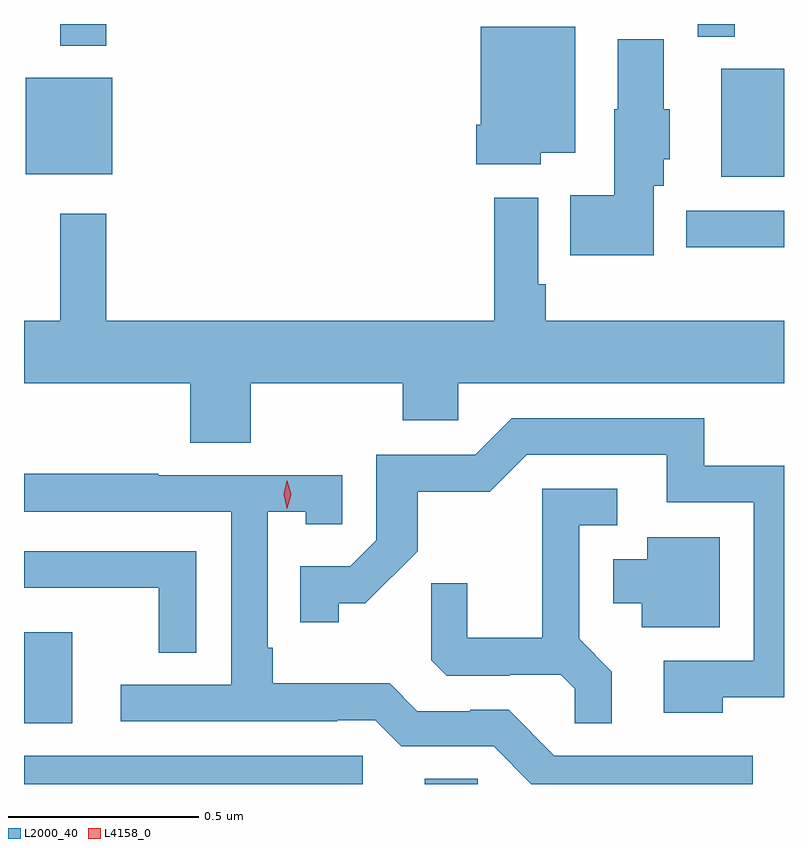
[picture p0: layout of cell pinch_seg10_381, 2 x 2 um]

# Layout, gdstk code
import gdstk
lib = gdstk.Library(unit=1e-6, precision=1e-09)
def R(c, l, rs):  # rectangles x0, y0, x1, y1
    for r in rs: c.add(gdstk.rectangle(r[:2], r[2:], *l))
def P(c, l, *ps):  # polygons
    for p in ps: c.add(gdstk.Polygon(p, *l))
L2000_40 = (2000, 40)
L4158_0 = (4158, 0)

pinch_seg10_381 = lib.new_cell('pinch_seg10_381')
R(pinch_seg10_381, L2000_40, [(485.598,1263.297,486.49,1263.372), (486.653,1263.297,486.792,1263.311), (485.598,1263.457,485.725,1263.696), (487.433,1264.895,487.598,1265.179), (485.603,1264.901,485.83,1265.155), (485.693,1265.24,485.815,1265.297), (487.371,1265.264,487.468,1265.297)])
P(pinch_seg10_381, L2000_40, [(486.958,1264.958),(487.048,1264.958),(487.048,1265.29),(486.8,1265.29),(486.8,1265.032),(486.788,1265.032),(486.788,1264.928),(486.958,1264.928)],
  [(487.255,1264.872),(487.282,1264.872),(487.282,1264.941),(487.297,1264.941),(487.297,1265.073),(487.282,1265.073),(487.282,1265.257),(487.16,1265.257),(487.16,1265.073),(487.151,1265.073),(487.151,1264.846),(487.036,1264.846),(487.036,1264.688),(487.255,1264.688)],
  [(486.195,1264.352),(486.595,1264.352),(486.595,1264.254),(486.741,1264.254),(486.741,1264.352),(487.598,1264.352),(487.598,1264.516),(486.971,1264.516),(486.971,1264.612),(486.951,1264.612),(486.951,1264.84),(486.835,1264.84),(486.835,1264.516),(485.815,1264.516),(485.815,1264.798),(485.693,1264.798),(485.693,1264.516),(485.598,1264.516),(485.598,1264.352),(486.035,1264.352),(486.035,1264.195),(486.195,1264.195)],
  [(487.583,1264.71),(487.598,1264.71),(487.598,1264.806),(487.341,1264.806),(487.341,1264.709),(487.583,1264.709)],
  [(487.437,1263.525),(487.598,1263.525),(487.598,1264.134),(487.388,1264.134),(487.388,1264.26),(486.882,1264.26),(486.786,1264.164),(486.525,1264.164),(486.525,1263.939),(486.456,1263.87),(486.325,1263.87),(486.325,1263.723),(486.426,1263.723),(486.426,1263.773),(486.496,1263.773),(486.634,1263.91),(486.634,1264.066),(486.823,1264.066),(486.921,1264.164),(487.289,1264.164),(487.289,1264.038),(487.518,1264.038),(487.518,1263.621),(487.281,1263.621),(487.281,1263.485),(487.437,1263.485)],
  [(487.516,1263.372),(486.993,1263.372),(486.873,1263.492),(486.772,1263.492),(486.772,1263.489),(486.633,1263.489),(486.56,1263.562),(486.253,1263.562),(486.253,1263.655),(486.24,1263.655),(486.24,1264.013),(486.339,1264.013),(486.339,1263.981),(486.435,1263.981),(486.435,1264.11),(485.951,1264.11),(485.951,1264.113),(485.598,1264.113),(485.598,1264.014),(486.144,1264.014),(486.144,1263.558),(485.853,1263.558),(485.853,1263.462),(486.422,1263.462),(486.422,1263.465),(486.522,1263.465),(486.591,1263.396),(486.834,1263.396),(486.933,1263.297),(487.516,1263.297)],
  [(487.145,1263.593),(487.059,1263.679),(487.059,1263.978),(487.159,1263.978),(487.159,1264.074),(486.962,1264.074),(486.962,1263.682),(486.764,1263.682),(486.764,1263.825),(486.67,1263.825),(486.67,1263.623),(486.711,1263.582),(486.876,1263.582),(486.876,1263.585),(487.01,1263.585),(487.047,1263.548),(487.047,1263.457),(487.145,1263.457)],
  [(487.429,1263.946),(487.238,1263.946),(487.238,1263.889),(487.148,1263.889),(487.148,1263.773),(487.223,1263.773),(487.223,1263.71),(487.429,1263.71)],
  [(486.051,1263.909),(485.598,1263.909),(485.598,1263.813),(485.953,1263.813),(485.953,1263.643),(486.051,1263.643)])
P(pinch_seg10_381, L4158_0, [(486.291,1264.022),(486.29,1264.023),(486.281,1264.059),(486.29,1264.095),(486.291,1264.095),(486.291,1264.095),(486.301,1264.059),(486.291,1264.023)])

lib.write_gds('pinch_seg10_381.gds')
